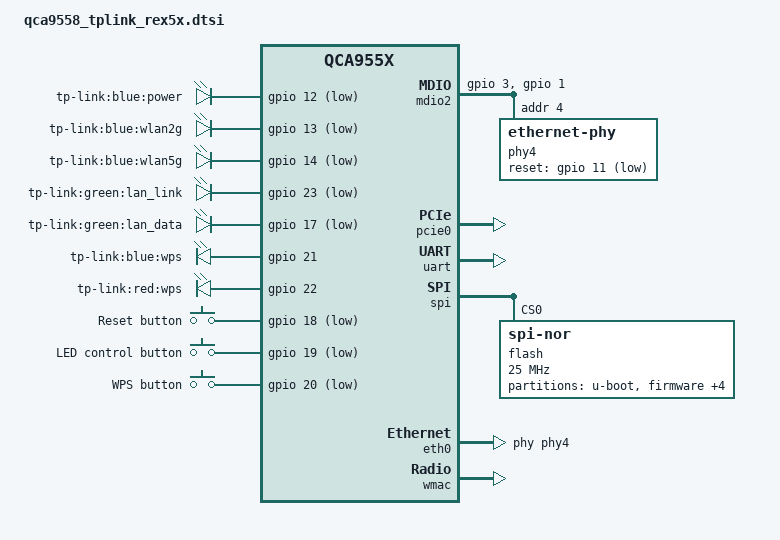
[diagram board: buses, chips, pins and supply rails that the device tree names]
// SPDX-License-Identifier: GPL-2.0-or-later OR MIT

#include <dt-bindings/gpio/gpio.h>
#include <dt-bindings/input/input.h>

#include "qca955x.dtsi"

/ {
	aliases {
		led-boot = &led_power;
		led-failsafe = &led_power;
		led-running = &led_power;
		led-upgrade = &led_power;
		mdio-gpio0 = &mdio2;
		label-mac-device = &eth0;
	};

	leds {
		compatible = "gpio-leds";

		led_power: power {
			label = "tp-link:blue:power";
			gpios = <&gpio 12 GPIO_ACTIVE_LOW>;
		};

		wlan2g {
			label = "tp-link:blue:wlan2g";
			gpios = <&gpio 13 GPIO_ACTIVE_LOW>;
			linux,default-trigger = "phy1tpt";
		};

		wlan5g {
			label = "tp-link:blue:wlan5g";
			gpios = <&gpio 14 GPIO_ACTIVE_LOW>;
			linux,default-trigger = "phy0tpt";
		};

		lan_link {
			label = "tp-link:green:lan_link";
			gpios = <&gpio 23 GPIO_ACTIVE_LOW>;
		};

		lan_data {
			label = "tp-link:green:lan_data";
			gpios = <&gpio 17 GPIO_ACTIVE_LOW>;
		};

		wps_blue {
			label = "tp-link:blue:wps";
			gpios = <&gpio 21 GPIO_ACTIVE_HIGH>;
		};

		wps_red {
			label = "tp-link:red:wps";
			gpios = <&gpio 22 GPIO_ACTIVE_HIGH>;
		};
	};

	keys {
		compatible = "gpio-keys";

		reset {
			label = "Reset button";
			linux,code = <KEY_RESTART>;
			gpios = <&gpio 18 GPIO_ACTIVE_LOW>;
			debounce-interval = <60>;
		};

		leds {
			label = "LED control button";
			linux,code = <BTN_0>;
			gpios = <&gpio 19 GPIO_ACTIVE_LOW>;
			debounce-interval = <60>;
		};

		wps {
			label = "WPS button";
			linux,code = <KEY_WPS_BUTTON>;
			gpios = <&gpio 20 GPIO_ACTIVE_LOW>;
			debounce-interval = <60>;
		};
	};

	mdio2: mdio {
		compatible = "virtual,mdio-gpio";

		gpios = <&gpio 3 GPIO_ACTIVE_HIGH>, /* MDC */
			<&gpio 1 GPIO_ACTIVE_HIGH>; /* MDIO */
		#address-cells = <1>;
		#size-cells = <0>;

		phy4: ethernet-phy@4 {
			reg = <4>;
			reset-gpios = <&gpio 11 GPIO_ACTIVE_LOW>;
		};
	};
};

&pcie0 {
	status = "okay";
};

&uart {
	status = "okay";
};

&spi {
	status = "okay";
	num-cs = <1>;

	flash@0 {
		compatible = "jedec,spi-nor";
		reg = <0>;
		spi-max-frequency = <25000000>;

		partitions {
			compatible = "fixed-partitions";
			#address-cells = <1>;
			#size-cells = <1>;

			partition@0 {
				label = "u-boot";
				reg = <0x000000 0x020000>;
				read-only;
			};

			partition@20000 {
				compatible = "tplink,firmware";
				label = "firmware";
				reg = <0x020000 0x5e0000>;
			};

			partition@600000 {
				label = "partition-table";
				reg = <0x600000 0x010000>;
				read-only;
			};

			info: partition@610000 {
				label = "info";
				reg = <0x610000 0x020000>;
				read-only;
			};

			partition@630000 {
				label = "config";
				reg = <0x630000 0x1c0000>;
				read-only;
			};

			art: partition@7f0000 {
				label = "art";
				reg = <0x7f0000 0x010000>;
				read-only;
			};
		};
	};
};

&eth0 {
	status = "okay";

	phy-handle = <&phy4>;
	pll-data = <0xa6000000 0x00000101 0x00001616>;

	mtd-mac-address = <&info 0x8>;
};

&wmac {
	status = "okay";

	mtd-cal-data = <&art 0x1000>;
	mtd-mac-address = <&info 0x8>;
	mtd-mac-address-increment = <(-1)>;
};
